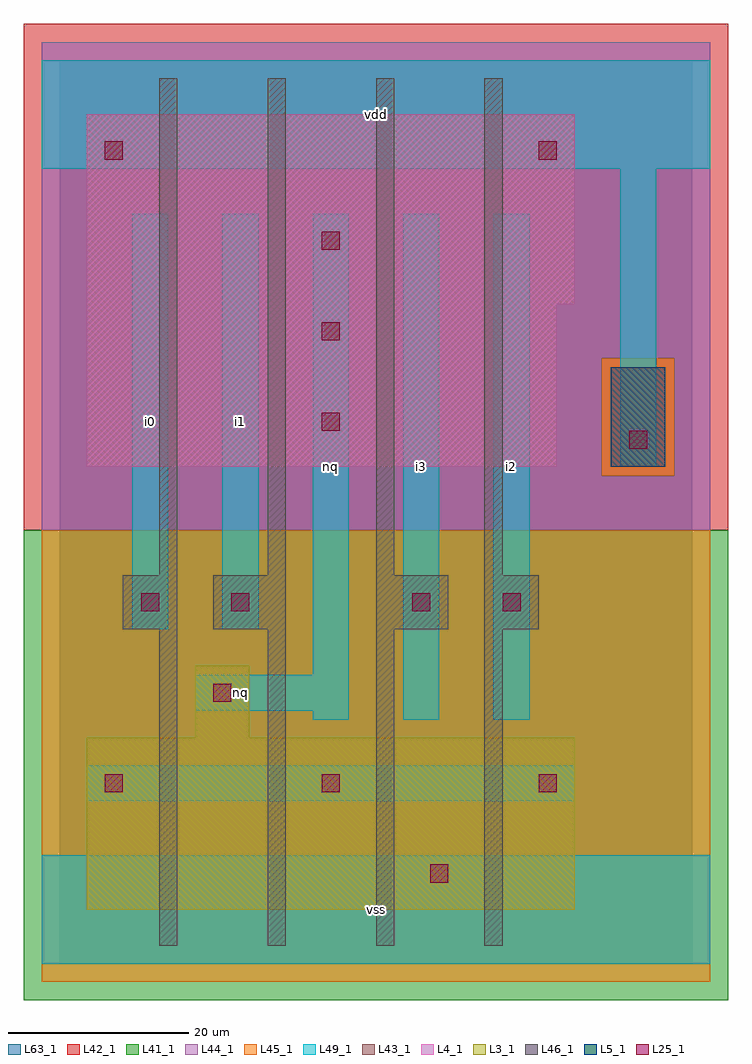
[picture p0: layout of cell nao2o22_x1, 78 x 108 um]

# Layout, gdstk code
import gdstk
lib = gdstk.Library(unit=1e-6, precision=1e-09)
def R(c, l, rs):  # rectangles x0, y0, x1, y1
    for r in rs: c.add(gdstk.rectangle(r[:2], r[2:], *l))
def A(c, l, x, y, w, h, nx, ny, dx, dy):  # array of equal rectangles
    R(c, l, [(x+i*dx, y+j*dy, x+i*dx+w, y+j*dy+h) for i in range(nx) for j in range(ny)])
L3_1 = (3, 1)
L4_1 = (4, 1)
L5_1 = (5, 1)
L25_1 = (25, 1)
L41_1 = (41, 1)
L42_1 = (42, 1)
L43_1 = (43, 1)
L44_1 = (44, 1)
L45_1 = (45, 1)
L46_1 = (46, 1)
L49_1 = (49, 1)
L63_1 = (63, 1)

nao2o22_x1 = lib.new_cell('nao2o22_x1')
R(nao2o22_x1, L3_1, [(3,6,57,25), (15,25,21,33)])
R(nao2o22_x1, L4_1, [(3,55,55,73), (3,73,57,94)])
R(nao2o22_x1, L5_1, [(61,55,67,66)])
A(nao2o22_x1, L25_1, 5, 19, 2, 2, 3, 1, 24, 0)
A(nao2o22_x1, L25_1, 29, 59, 2, 2, 1, 3, 0, 10)
R(nao2o22_x1, L25_1, [(41,9,43,11), (17,29,19,31), (9,39,11,41), (19,39,21,41), (39,39,41,41), (49,39,51,41), (63,57,65,59), (5,89,7,91), (53,89,55,91)])
R(nao2o22_x1, L41_1, [(-4,-4,74,48)])
R(nao2o22_x1, L42_1, [(-4,48,74,104)])
R(nao2o22_x1, L43_1, [(3,6,57,25), (15,25,21,33), (3,55,55,73), (61,55,67,66), (3,73,57,94)])
R(nao2o22_x1, L44_1, [(-2,48,72,54), (-2,54,60,67), (68,54,72,67), (-2,67,72,102)])
R(nao2o22_x1, L45_1, [(-2,-2,72,48), (60,54,68,67)])
A(nao2o22_x1, L46_1, 11, 2, 2, 35, 4, 1, 12, 0)
A(nao2o22_x1, L46_1, 11, 43, 2, 55, 4, 1, 12, 0)
R(nao2o22_x1, L46_1, [(7,37,13,43), (17,37,25,43), (35,37,43,43), (47,37,53,43)])
R(nao2o22_x1, L49_1, [(-2,0,72,12), (3,18,57,22), (28,27,32,28), (38,27,42,83), (48,27,52,83), (15,28,32,32), (28,32,32,83), (8,37,12,83), (18,37,22,83), (62,55,66,88), (-2,88,72,100)])
R(nao2o22_x1, L63_1, [(0,0,70,100)])
nao2o22_x1.add(gdstk.Label('i0', (10,60), layer=49, texttype=1))
nao2o22_x1.add(gdstk.Label('nq', (20,30), layer=49, texttype=1))
nao2o22_x1.add(gdstk.Label('i1', (20,60), layer=49, texttype=1))
nao2o22_x1.add(gdstk.Label('nq', (30,55), layer=49, texttype=1))
nao2o22_x1.add(gdstk.Label('vss', (35,6), layer=49, texttype=1))
nao2o22_x1.add(gdstk.Label('i3', (40,55), layer=49, texttype=1))
nao2o22_x1.add(gdstk.Label('i2', (50,55), layer=49, texttype=1))
nao2o22_x1.add(gdstk.Label('vdd', (35,94), layer=49, texttype=1))

lib.write_gds('nao2o22_x1.gds')
